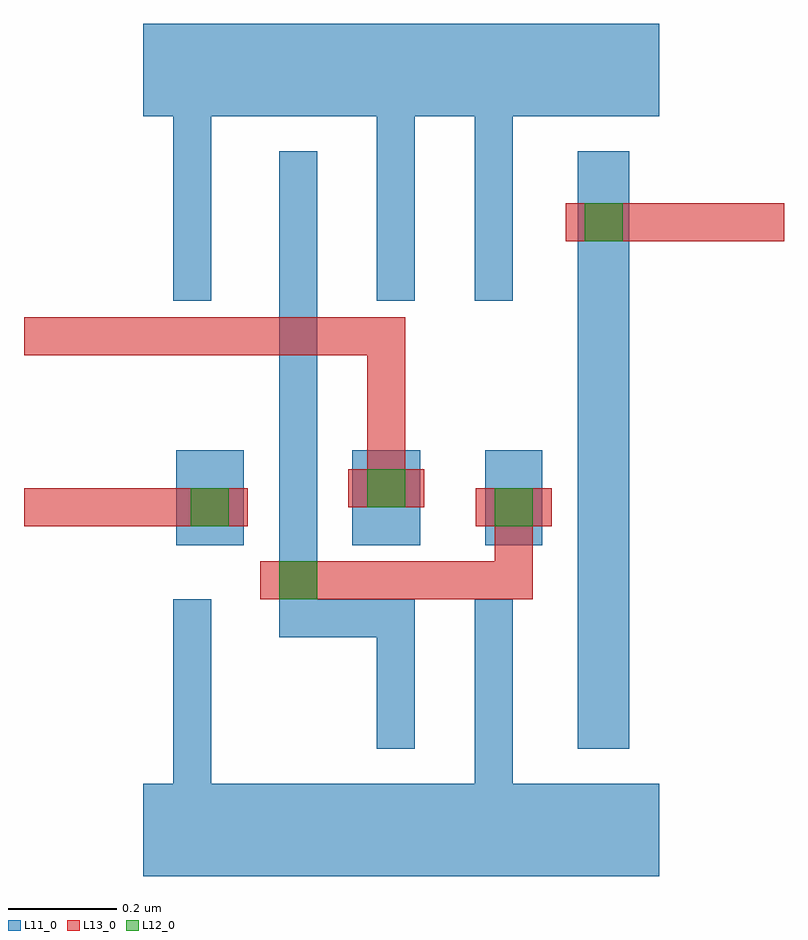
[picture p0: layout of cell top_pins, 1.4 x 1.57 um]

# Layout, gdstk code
import gdstk
lib = gdstk.Library(unit=1e-6, precision=1e-10)
def R(c, l, rs):  # rectangles x0, y0, x1, y1
    for r in rs: c.add(gdstk.rectangle(r[:2], r[2:], *l))
def P(c, l, *ps):  # polygons
    for p in ps: c.add(gdstk.Polygon(p, *l))
L11_0 = (11, 0)
L12_0 = (12, 0)
L13_0 = (13, 0)

nand2_x1_pins = lib.new_cell('NAND2_X1_pins')
R(nand2_x1_pins, L11_0, [(0.06,0.525,0.185,0.7), (0.385,0.525,0.51,0.7)])
P(nand2_x1_pins, L11_0, [(0.43,0.15),(0.43,0.355),(0.25,0.355),(0.25,1.25),(0.32,1.25),(0.32,0.425),(0.5,0.425),(0.5,0.15)],
  [(0.055,0.975),(0.055,1.315),(0,1.315),(0,1.485),(0.57,1.485),(0.57,1.315),(0.5,1.315),(0.5,0.975),(0.43,0.975),(0.43,1.315),(0.125,1.315),(0.125,0.975)],
  [(0,-0.085),(0,0.085),(0.055,0.085),(0.055,0.425),(0.125,0.425),(0.125,0.085),(0.57,0.085),(0.57,-0.085)])

inv_x1_pins = lib.new_cell('INV_X1_pins')
R(inv_x1_pins, L11_0, [(0.23,0.15,0.325,1.25), (0.06,0.525,0.165,0.7)])
P(inv_x1_pins, L11_0, [(0.04,0.975),(0.04,1.315),(0,1.315),(0,1.485),(0.38,1.485),(0.38,1.315),(0.11,1.315),(0.11,0.975)],
  [(0,-0.085),(0,0.085),(0.04,0.085),(0.04,0.425),(0.11,0.425),(0.11,0.085),(0.38,0.085),(0.38,-0.085)])

top_pins = lib.new_cell('top_pins')
R(top_pins, L11_0, [(0.25,0.39,0.32,0.53), (0.0875,0.525,0.1575,0.665), (0.6475,0.525,0.7175,0.665), (0.4125,0.56,0.4825,0.7), (0.8125,1.05,0.8825,1.19)])
R(top_pins, L12_0, [(0.25,0.425,0.32,0.495), (0.0875,0.56,0.1575,0.63), (0.6475,0.56,0.7175,0.63), (0.4125,0.595,0.4825,0.665), (0.8125,1.085,0.8825,1.155)])
R(top_pins, L13_0, [(0.215,0.425,0.355,0.495), (0.0525,0.56,0.1925,0.63), (0.6125,0.56,0.7525,0.63), (0.3775,0.595,0.5175,0.665), (0.7775,1.085,0.9175,1.155)])
top_pins.add(gdstk.FlexPath([(-0.22,0.91),(0.4475,0.91),(0.4475,0.63)], 0.07, ends="flush", simple_path=True, layer=13, datatype=0))  # L13_0
top_pins.add(gdstk.FlexPath([(-0.22,0.595),(0.1225,0.595)], 0.07, ends="flush", simple_path=True, layer=13, datatype=0))  # L13_0
top_pins.add(gdstk.FlexPath([(0.285,0.46),(0.6825,0.46),(0.6825,0.595)], 0.07, ends="flush", simple_path=True, layer=13, datatype=0))  # L13_0
top_pins.add(gdstk.FlexPath([(0.8475,1.12),(1.18,1.12)], 0.07, ends="flush", simple_path=True, layer=13, datatype=0))  # L13_0
top_pins.add(gdstk.Reference(nand2_x1_pins, (0,0)))
top_pins.add(gdstk.Reference(inv_x1_pins, (0.57,0)))

lib.write_gds('top_pins.gds')
